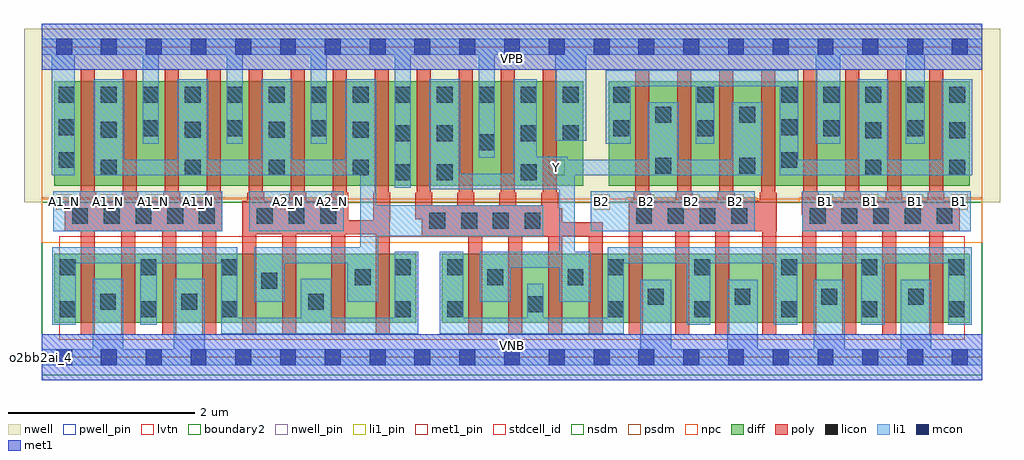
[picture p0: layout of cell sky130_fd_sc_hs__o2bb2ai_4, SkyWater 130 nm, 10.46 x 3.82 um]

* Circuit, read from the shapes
.subckt sky130_fd_sc_hs__o2bb2ai_4 A1_N A2_N B1 B2 VGND VNB VPB VPWR Y
XM1 VGND A1_N n1 VNB sky130_fd_pr__nfet_01v8_lvt w=0.74 l=0.15 m=4
XM2 n2 A2_N n1 VNB sky130_fd_pr__nfet_01v8_lvt w=0.74 l=0.15 m=4
XM3 Y n2 n3 VNB sky130_fd_pr__nfet_01v8_lvt w=0.74 l=0.15 m=4
XM4 VGND B2 n3 VNB sky130_fd_pr__nfet_01v8_lvt w=0.74 l=0.15 m=4
XM5 VGND B1 n3 VNB sky130_fd_pr__nfet_01v8_lvt w=0.74 l=0.15 m=4
XM6 n2 A1_N VPWR VPB sky130_fd_pr__pfet_01v8 w=1.12 l=0.15 m=4
XM7 n2 A2_N VPWR VPB sky130_fd_pr__pfet_01v8 w=1.12 l=0.15 m=4
XM8 Y n2 VPWR VPB sky130_fd_pr__pfet_01v8 w=1.12 l=0.15 m=4
XM9 Y B2 n4 VPB sky130_fd_pr__pfet_01v8 w=1.12 l=0.15 m=4
XM10 VPWR B1 n4 VPB sky130_fd_pr__pfet_01v8 w=1.12 l=0.15 m=4
.ends

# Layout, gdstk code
import gdstk
lib = gdstk.Library(unit=1e-6, precision=1e-09)
def R(c, l, rs):  # rectangles x0, y0, x1, y1
    for r in rs: c.add(gdstk.rectangle(r[:2], r[2:], *l))
def A(c, l, x, y, w, h, nx, ny, dx, dy):  # array of equal rectangles
    R(c, l, [(x+i*dx, y+j*dy, x+i*dx+w, y+j*dy+h) for i in range(nx) for j in range(ny)])
def P(c, l, *ps):  # polygons
    for p in ps: c.add(gdstk.Polygon(p, *l))
nwell_pin = (64, 16)
nwell = (64, 20)
diff = (65, 20)
poly = (66, 20)
licon = (66, 44)
li1_pin = (67, 16)
li1 = (67, 20)
mcon = (67, 44)
met1_pin = (68, 16)
met1 = (68, 20)
stdcell_id = (81, 4)
nsdm = (93, 44)
psdm = (94, 20)
npc = (95, 20)
pwell_pin = (122, 16)
lvtn = (125, 44)
boundary2 = (236, 0)

sky130_fd_sc_hs__o2bb2ai = lib.new_cell('sky130_fd_sc_hs__o2bb2ai_4')
R(sky130_fd_sc_hs__o2bb2ai, nwell_pin, [(0,3.085,10.08,3.33)])
R(sky130_fd_sc_hs__o2bb2ai, nwell, [(-0.19,1.66,10.27,3.52)])
R(sky130_fd_sc_hs__o2bb2ai, diff, [(0.135,0.37,4.015,1.11), (4.285,0.37,9.945,1.11), (0.135,1.84,5.805,2.96), (6.075,1.84,9.945,2.96)])
P(sky130_fd_sc_hs__o2bb2ai, poly, [(1.935,1.765),(1.92,1.765),(1.92,3.09),(1.77,3.09),(1.77,1.765),(1.755,1.765),(1.755,1.68),(1.485,1.68),(1.485,1.765),(1.47,1.765),(1.47,3.09),(1.32,3.09),(1.32,1.765),(1.305,1.765),(1.305,1.68),(1.035,1.68),(1.035,1.765),(1.02,1.765),(1.02,3.09),(0.87,3.09),(0.87,1.765),(0.855,1.765),(0.855,1.68),(0.585,1.68),(0.585,1.765),(0.57,1.765),(0.57,3.09),(0.42,3.09),(0.42,1.765),(0.405,1.765),(0.405,1.68),(0.245,1.68),(0.245,1.35),(0.42,1.35),(0.42,0.24),(0.57,0.24),(0.57,1.35),(0.85,1.35),(0.85,0.24),(1,0.24),(1,1.35),(1.29,1.35),(1.29,0.24),(1.44,0.24),(1.44,1.35),(1.72,1.35),(1.72,0.24),(1.87,0.24),(1.87,1.35),(1.935,1.35)],
  [(3.735,1.765),(3.72,1.765),(3.72,3.09),(3.57,3.09),(3.57,1.765),(3.555,1.765),(3.555,1.47),(3.285,1.47),(3.285,1.765),(3.27,1.765),(3.27,3.09),(3.12,3.09),(3.12,1.765),(3.105,1.765),(3.105,1.68),(2.835,1.68),(2.835,1.765),(2.82,1.765),(2.82,3.09),(2.67,3.09),(2.67,1.765),(2.655,1.765),(2.655,1.68),(2.385,1.68),(2.385,1.765),(2.37,1.765),(2.37,3.09),(2.22,3.09),(2.22,1.765),(2.205,1.765),(2.205,1.68),(2.15,1.68),(2.15,0.24),(2.3,0.24),(2.3,1.32),(2.58,1.32),(2.58,0.24),(2.73,0.24),(2.73,1.32),(3.105,1.32),(3.105,0.24),(3.255,0.24),(3.255,1.32),(3.58,1.32),(3.58,0.24),(3.73,0.24),(3.73,1.47),(3.735,1.47)],
  [(6.01,1.45),(5.58,1.45),(5.58,1.6),(5.535,1.6),(5.535,1.765),(5.52,1.765),(5.52,3.09),(5.37,3.09),(5.37,1.765),(5.355,1.765),(5.355,1.63),(5.085,1.63),(5.085,1.765),(5.07,1.765),(5.07,3.09),(4.92,3.09),(4.92,1.765),(4.905,1.765),(4.905,1.63),(4.635,1.63),(4.635,1.765),(4.62,1.765),(4.62,3.09),(4.47,3.09),(4.47,1.765),(4.455,1.765),(4.455,1.63),(4.185,1.63),(4.185,1.765),(4.17,1.765),(4.17,3.09),(4.02,3.09),(4.02,1.765),(4.005,1.765),(4.005,1.48),(4.075,1.48),(4.075,1.3),(4.57,1.3),(4.57,0.24),(4.72,0.24),(4.72,1.3),(5,1.3),(5,0.24),(5.15,0.24),(5.15,1.3),(5.43,1.3),(5.43,0.24),(5.58,0.24),(5.58,1.3),(5.86,1.3),(5.86,0.24),(6.01,0.24)],
  [(7.875,1.765),(7.86,1.765),(7.86,3.09),(7.71,3.09),(7.71,1.765),(7.695,1.765),(7.695,1.68),(7.425,1.68),(7.425,1.765),(7.41,1.765),(7.41,3.09),(7.26,3.09),(7.26,1.765),(7.245,1.765),(7.245,1.68),(6.975,1.68),(6.975,1.765),(6.96,1.765),(6.96,3.09),(6.81,3.09),(6.81,1.765),(6.795,1.765),(6.795,1.68),(6.525,1.68),(6.525,1.765),(6.51,1.765),(6.51,3.09),(6.36,3.09),(6.36,1.765),(6.345,1.765),(6.345,1.68),(6.29,1.68),(6.29,0.24),(6.44,0.24),(6.44,1.35),(6.79,1.35),(6.79,0.24),(6.94,0.24),(6.94,1.35),(7.22,1.35),(7.22,0.24),(7.37,0.24),(7.37,1.35),(7.72,1.35),(7.72,0.24),(7.87,0.24),(7.87,1.35),(7.875,1.35)],
  [(9.84,1.68),(9.675,1.68),(9.675,1.765),(9.66,1.765),(9.66,3.09),(9.51,3.09),(9.51,1.765),(9.495,1.765),(9.495,1.68),(9.225,1.68),(9.225,1.765),(9.21,1.765),(9.21,3.09),(9.06,3.09),(9.06,1.765),(9.045,1.765),(9.045,1.68),(8.775,1.68),(8.775,1.765),(8.76,1.765),(8.76,3.09),(8.61,3.09),(8.61,1.765),(8.595,1.765),(8.595,1.68),(8.325,1.68),(8.325,1.765),(8.31,1.765),(8.31,3.09),(8.16,3.09),(8.16,1.765),(8.145,1.765),(8.145,1.53),(8.15,1.53),(8.15,0.24),(8.3,0.24),(8.3,1.35),(8.58,1.35),(8.58,0.24),(8.73,0.24),(8.73,1.35),(9.01,1.35),(9.01,0.24),(9.16,0.24),(9.16,1.35),(9.51,1.35),(9.51,0.24),(9.66,0.24),(9.66,1.35),(9.84,1.35)])
A(sky130_fd_sc_hs__o2bb2ai, licon, 0.195, 0.43, 0.17, 0.17, 3, 2, 0.865, 0.45)
A(sky130_fd_sc_hs__o2bb2ai, licon, 6.065, 0.43, 0.17, 0.17, 3, 2, 0.93, 0.45)
A(sky130_fd_sc_hs__o2bb2ai, licon, 6.495, 0.565, 0.17, 0.17, 4, 1, 0.93, 0)
A(sky130_fd_sc_hs__o2bb2ai, licon, 4.155, 1.38, 0.17, 0.17, 4, 1, 0.34, 0)
A(sky130_fd_sc_hs__o2bb2ai, licon, 0.325, 1.43, 0.17, 0.17, 5, 1, 0.34, 0)
A(sky130_fd_sc_hs__o2bb2ai, licon, 2.305, 1.43, 0.17, 0.17, 3, 1, 0.34, 0)
A(sky130_fd_sc_hs__o2bb2ai, licon, 6.37, 1.43, 0.17, 0.17, 4, 1, 0.34, 0)
A(sky130_fd_sc_hs__o2bb2ai, licon, 8.23, 1.43, 0.17, 0.17, 5, 1, 0.34, 0)
A(sky130_fd_sc_hs__o2bb2ai, licon, 0.635, 1.95, 0.17, 0.17, 4, 2, 0.9, 0.405)
A(sky130_fd_sc_hs__o2bb2ai, licon, 1.085, 2.37, 0.17, 0.17, 3, 1, 0.9, 0)
A(sky130_fd_sc_hs__o2bb2ai, licon, 0.185, 2.73, 0.17, 0.17, 13, 1, 0.45, 0)
A(sky130_fd_sc_hs__o2bb2ai, licon, 6.125, 2.73, 0.17, 0.17, 3, 1, 0.9, 0)
A(sky130_fd_sc_hs__o2bb2ai, licon, 8.375, 2.73, 0.17, 0.17, 4, 1, 0.45, 0)
R(sky130_fd_sc_hs__o2bb2ai, licon, [(3.785,0.43,3.955,0.6), (4.345,0.43,4.515,0.6), (8.785,0.43,8.955,0.6), (9.715,0.43,9.885,0.6), (5.205,0.485,5.375,0.655), (0.625,0.51,0.795,0.68), (1.495,0.51,1.665,0.68), (2.855,0.51,3.025,0.68), (2.355,0.735,2.525,0.905), (3.355,0.775,3.525,0.945), (4.775,0.775,4.945,0.945), (5.635,0.775,5.805,0.945), (3.785,0.88,3.955,1.05), (4.345,0.88,4.515,1.05), (8.785,0.88,8.955,1.05), (9.715,0.88,9.885,1.05), (3.785,1.9,3.955,2.07), (4.235,1.9,4.405,2.07), (5.135,1.9,5.305,2.07), (8.825,1.95,8.995,2.12), (9.725,1.95,9.895,2.12), (6.575,1.97,6.745,2.14), (7.475,1.97,7.645,2.14), (0.185,2.03,0.355,2.2), (7.925,2.03,8.095,2.2), (4.685,2.22,4.855,2.39), (3.785,2.315,3.955,2.485), (4.235,2.315,4.405,2.485), (5.135,2.315,5.305,2.485), (5.585,2.32,5.755,2.49), (8.825,2.35,8.995,2.52), (9.725,2.35,9.895,2.52), (6.125,2.37,6.295,2.54), (7.025,2.37,7.195,2.54), (8.375,2.37,8.545,2.54), (9.275,2.37,9.445,2.54), (0.185,2.38,0.355,2.55), (7.925,2.38,8.095,2.55), (6.575,2.515,6.745,2.685), (7.475,2.515,7.645,2.685)])
A(sky130_fd_sc_hs__o2bb2ai, li1_pin, 0.155, 1.58, 0.17, 0.17, 4, 1, 0.48, 0)
A(sky130_fd_sc_hs__o2bb2ai, li1_pin, 5.915, 1.58, 0.17, 0.17, 4, 1, 0.48, 0)
A(sky130_fd_sc_hs__o2bb2ai, li1_pin, 8.315, 1.58, 0.17, 0.17, 4, 1, 0.48, 0)
R(sky130_fd_sc_hs__o2bb2ai, li1_pin, [(2.555,1.58,2.725,1.75), (3.035,1.58,3.205,1.75), (5.435,1.95,5.605,2.12)])
R(sky130_fd_sc_hs__o2bb2ai, li1, [(0.125,1.35,1.935,1.78), (2.225,1.35,3.235,1.78), (5.885,1.35,7.64,1.78), (8.15,1.35,9.955,1.78)])
P(sky130_fd_sc_hs__o2bb2ai, li1, [(0,-0.085),(0,0.085),(0.545,0.085),(0.545,0.84),(0.875,0.84),(0.875,0.085),(1.415,0.085),(1.415,0.84),(1.745,0.84),(1.745,0.085),(6.415,0.085),(6.415,0.83),(6.745,0.83),(6.745,0.085),(7.345,0.085),(7.345,0.83),(7.675,0.83),(7.675,0.085),(8.275,0.085),(8.275,0.83),(8.605,0.83),(8.605,0.085),(9.205,0.085),(9.205,0.83),(9.535,0.83),(9.535,0.085),(10.08,0.085),(10.08,-0.085)],
  [(0,3.245),(0,3.415),(10.08,3.415),(10.08,3.245),(9.465,3.245),(9.465,2.29),(9.26,2.29),(9.26,3.245),(8.56,3.245),(8.56,2.29),(8.295,2.29),(8.295,3.245),(5.835,3.245),(5.835,2.32),(5.505,2.32),(5.505,3.245),(4.855,3.245),(4.855,2.14),(4.685,2.14),(4.685,3.245),(3.955,3.245),(3.955,1.82),(3.785,1.82),(3.785,3.245),(3.055,3.245),(3.055,2.29),(2.885,2.29),(2.885,3.245),(2.155,3.245),(2.155,2.29),(1.985,2.29),(1.985,3.245),(1.255,3.245),(1.255,2.29),(1.085,2.29),(1.085,3.245),(0.355,3.245),(0.355,1.95),(0.105,1.95),(0.105,3.245)],
  [(5.635,2.12),(6.495,2.12),(6.495,2.735),(6.825,2.735),(6.825,2.12),(7.395,2.12),(7.395,2.735),(7.725,2.735),(7.725,1.95),(5.715,1.95),(5.715,1.13),(5.885,1.13),(5.885,0.595),(5.545,0.595),(5.545,0.96),(5.025,0.96),(5.025,0.595),(4.695,0.595),(4.695,1.13),(5.545,1.13),(5.545,1.8),(4.155,1.8),(4.155,2.98),(4.485,2.98),(4.485,1.97),(5.055,1.97),(5.055,2.98),(5.305,2.98),(5.305,2.15),(5.635,2.15)],
  [(8.11,2.12),(8.745,2.12),(8.745,2.98),(9.075,2.98),(9.075,2.12),(9.645,2.12),(9.645,2.98),(9.975,2.98),(9.975,1.95),(7.91,1.95),(7.91,2.905),(7.21,2.905),(7.21,2.29),(7.01,2.29),(7.01,2.905),(6.31,2.905),(6.31,2.29),(6.045,2.29),(6.045,3.075),(8.11,3.075)],
  [(3.585,1.63),(5.375,1.63),(5.375,1.3),(3.605,1.3),(3.605,0.595),(3.275,0.595),(3.275,1.01),(2.605,1.01),(2.605,0.595),(2.275,0.595),(2.275,1.18),(3.415,1.18),(3.415,1.95),(0.555,1.95),(0.555,2.98),(0.885,2.98),(0.885,2.12),(1.455,2.12),(1.455,2.98),(1.785,2.98),(1.785,2.12),(2.355,2.12),(2.355,2.98),(2.685,2.98),(2.685,2.12),(3.255,2.12),(3.255,2.98),(3.585,2.98)],
  [(4.515,0.425),(5.205,0.425),(5.205,0.79),(5.375,0.79),(5.375,0.425),(6.065,0.425),(6.065,1.18),(9.965,1.18),(9.965,0.35),(9.715,0.35),(9.715,1.01),(9.035,1.01),(9.035,0.35),(8.785,0.35),(8.785,1.01),(8.095,1.01),(8.095,0.35),(7.845,0.35),(7.845,1.01),(7.165,1.01),(7.165,0.35),(6.915,0.35),(6.915,1.01),(6.235,1.01),(6.235,0.255),(4.265,0.255),(4.265,1.13),(4.515,1.13)],
  [(2.775,0.425),(2.775,0.84),(3.105,0.84),(3.105,0.425),(3.785,0.425),(3.785,1.13),(4.035,1.13),(4.035,0.255),(1.925,0.255),(1.925,1.01),(1.235,1.01),(1.235,0.35),(1.055,0.35),(1.055,1.01),(0.365,1.01),(0.365,0.35),(0.115,0.35),(0.115,1.18),(2.095,1.18),(2.095,0.425)])
A(sky130_fd_sc_hs__o2bb2ai, mcon, 0.155, -0.085, 0.17, 0.17, 21, 2, 0.48, 3.33)
R(sky130_fd_sc_hs__o2bb2ai, met1_pin, [(0,0,10.08,0.245), (0,3.085,10.08,3.33)])
R(sky130_fd_sc_hs__o2bb2ai, met1, [(0,-0.245,10.08,0.245), (0,3.085,10.08,3.575)])
R(sky130_fd_sc_hs__o2bb2ai, stdcell_id, [(0,0,10.08,3.33)])
R(sky130_fd_sc_hs__o2bb2ai, nsdm, [(0,-0.19,10.08,1.66)])
P(sky130_fd_sc_hs__o2bb2ai, psdm, [(10.08,3.52),(0,3.52),(0,1.71),(3.265,1.71),(3.265,1.66),(6.26,1.66),(6.26,1.71),(7.67,1.71),(7.67,1.66),(8.12,1.66),(8.12,1.71),(10.08,1.71)])
R(sky130_fd_sc_hs__o2bb2ai, npc, [(0,1.23,10.08,1.7)])
R(sky130_fd_sc_hs__o2bb2ai, pwell_pin, [(0,0,10.08,0.245)])
R(sky130_fd_sc_hs__o2bb2ai, lvtn, [(0.19,0.19,9.89,1.3)])
R(sky130_fd_sc_hs__o2bb2ai, boundary2, [(0,0,10.08,3.33)])
sky130_fd_sc_hs__o2bb2ai.add(gdstk.Label('o2bb2ai_4', (0,0), layer=83, texttype=44))
sky130_fd_sc_hs__o2bb2ai.add(gdstk.Label('VNB', (5.04,0.123), layer=64, texttype=59))
sky130_fd_sc_hs__o2bb2ai.add(gdstk.Label('VPB', (5.04,3.208), layer=64, texttype=5))
sky130_fd_sc_hs__o2bb2ai.add(gdstk.Label('VPWR', (5.04,3.208), layer=68, texttype=5))
sky130_fd_sc_hs__o2bb2ai.add(gdstk.Label('VGND', (5.04,0.123), layer=68, texttype=5))
sky130_fd_sc_hs__o2bb2ai.add(gdstk.Label('Y', (5.52,2.035), layer=67, texttype=5))
sky130_fd_sc_hs__o2bb2ai.add(gdstk.Label('A2_N', (2.64,1.665), layer=67, texttype=5))
sky130_fd_sc_hs__o2bb2ai.add(gdstk.Label('A2_N', (3.12,1.665), layer=67, texttype=5))
sky130_fd_sc_hs__o2bb2ai.add(gdstk.Label('A1_N', (0.24,1.665), layer=67, texttype=5))
sky130_fd_sc_hs__o2bb2ai.add(gdstk.Label('A1_N', (0.72,1.665), layer=67, texttype=5))
sky130_fd_sc_hs__o2bb2ai.add(gdstk.Label('A1_N', (1.2,1.665), layer=67, texttype=5))
sky130_fd_sc_hs__o2bb2ai.add(gdstk.Label('A1_N', (1.68,1.665), layer=67, texttype=5))
sky130_fd_sc_hs__o2bb2ai.add(gdstk.Label('B1', (8.4,1.665), layer=67, texttype=5))
sky130_fd_sc_hs__o2bb2ai.add(gdstk.Label('B1', (8.88,1.665), layer=67, texttype=5))
sky130_fd_sc_hs__o2bb2ai.add(gdstk.Label('B1', (9.36,1.665), layer=67, texttype=5))
sky130_fd_sc_hs__o2bb2ai.add(gdstk.Label('B1', (9.84,1.665), layer=67, texttype=5))
sky130_fd_sc_hs__o2bb2ai.add(gdstk.Label('B2', (6,1.665), layer=67, texttype=5))
sky130_fd_sc_hs__o2bb2ai.add(gdstk.Label('B2', (6.48,1.665), layer=67, texttype=5))
sky130_fd_sc_hs__o2bb2ai.add(gdstk.Label('B2', (6.96,1.665), layer=67, texttype=5))
sky130_fd_sc_hs__o2bb2ai.add(gdstk.Label('B2', (7.44,1.665), layer=67, texttype=5))

lib.write_gds('sky130_fd_sc_hs__o2bb2ai_4.gds')
